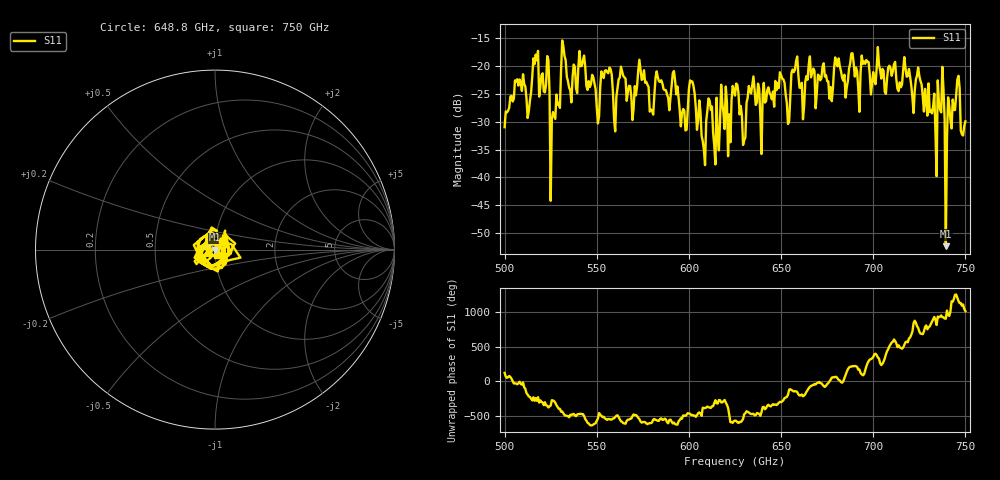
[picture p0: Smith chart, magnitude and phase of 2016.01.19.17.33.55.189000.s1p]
!Created with skrf (http://scikit-rf.org).
# GHz S RI R 50.0
!freq ReS11 ImS11
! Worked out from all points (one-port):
!   401 points, 500 GHz to 750 GHz, reference 50 ohm
!   lowest |S11| = -52.4 dB at 739.4 GHz (marker M1), VSWR 1.00, Z = 49.8 - j0.0192 ohm
!   |S11| at or under -10 dB: start of sweep to end of sweep
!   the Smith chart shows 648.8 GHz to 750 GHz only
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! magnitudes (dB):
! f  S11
! 500 GHz  -31.0
! 506.9 GHz  -22.3
! 513.1 GHz  -28.1
! 516.9 GHz  -17.9
! 523.1 GHz  -18.2
! 526.2 GHz  -28.2
! 531.2 GHz  -15.4
! 550.6 GHz  -30.3
! 562.5 GHz  -22.0
! 593.8 GHz  -23.6
! 597.5 GHz  -28.0
! 601.9 GHz  -22.7
! 608.1 GHz  -35.0
! 611.2 GHz  -26.2
! 615 GHz  -25.7
! 625 GHz  -25.3
! 629.4 GHz  -34.2
! 633.8 GHz  -24.9
! 650.6 GHz  -22.2
! 653.8 GHz  -30.4
! 656.2 GHz  -20.6
! 687.5 GHz  -19.5
! 718.8 GHz  -21.8
! 733.1 GHz  -24.9
! 736.9 GHz  -28.3
! 739.4 GHz  -52.4
! 745.6 GHz  -22.4
! 750 GHz  -29.9
